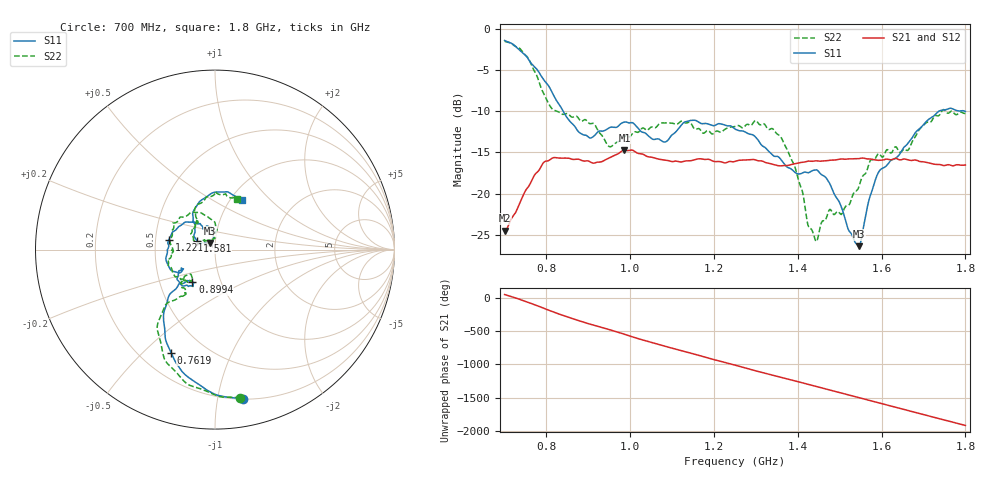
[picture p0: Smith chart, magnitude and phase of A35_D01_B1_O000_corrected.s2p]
! Created with skrf 1.9.0 (http://scikit-rf.org).
# Hz S RI R 50.0
!freq ReS11 ImS11 ReS21 ImS21 ReS12 ImS12 ReS22 ImS22
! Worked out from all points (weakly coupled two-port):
!   1601 points, 700 MHz to 1.8 GHz, reference 50 ohm
!   highest |S21| = -14.69 dB at 986 MHz (marker M1); lowest = -24.5 dB at 700.7 MHz (marker M2)
!   lowest |S11| = -26.3 dB at 1.545 GHz (marker M3), VSWR 1.10, Z = 46.9 + j3.54 ohm
!   |S11| at or under -10 dB: 839.6 MHz to 1.737 GHz (897.3 MHz wide, 69.7 % of centre); 1.798723 GHz to end of sweep
!   |S22| runs from -25.8 to -1.5 dB; largest |S21 - S12| = 0.0036
!   S11 on the Smith chart (normalised r, x): 700 MHz: 0.20, -1.19; 761.9 MHz: 0.33, -0.61; 899.4 MHz: 0.73, -0.28; 1.221 GHz: 0.59, +0.07; 1.581 GHz: 0.81, +0.08; 1.8 GHz: 1.12, +0.69
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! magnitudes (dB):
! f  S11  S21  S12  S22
! 700 MHz  -1.4  -24.4  -24.2  -1.5
! 700.7 MHz  -1.5  -24.5  -24.1  -1.6
! 761.9 MHz  -4.1  -18.7  -18.6  -4.2
! 812.1 MHz  -7.6  -15.7  -15.7  -9.6
! 883.6 MHz  -12.8  -16.0  -15.9  -11.2
! 899.4 MHz  -13.1  -16.0  -16.1  -11.4
! 950.2 MHz  -12.0  -15.6  -15.7  -14.3
! 986 MHz  -11.3  -14.7  -14.8  -13.1
! 1.067 GHz  -13.4  -15.8  -15.7  -11.6
! 1.221 GHz  -11.6  -16.2  -16.2  -12.4
! 1.25 GHz  -12.2  -16.1  -16.0  -11.9
! 1.359 GHz  -15.8  -16.6  -16.6  -13.1
! 1.394 GHz  -17.4  -16.4  -16.3  -16.8
! 1.434 GHz  -17.2  -16.1  -16.0  -24.4
! 1.445 GHz  -17.1  -16.0  -16.0  -25.7
! 1.472 GHz  -18.4  -16.0  -16.0  -22.3
! 1.545 GHz  -26.3  -15.8  -15.7  -19.3
! 1.581 GHz  -18.9  -15.9  -15.9  -15.9
! 1.617 GHz  -16.3  -15.8  -15.8  -14.8
! 1.663 GHz  -13.9  -15.9  -15.9  -14.8
! 1.736 GHz  -10.0  -16.4  -16.5  -10.6
! 1.8 GHz  -10.0  -16.5  -16.5  -10.3
